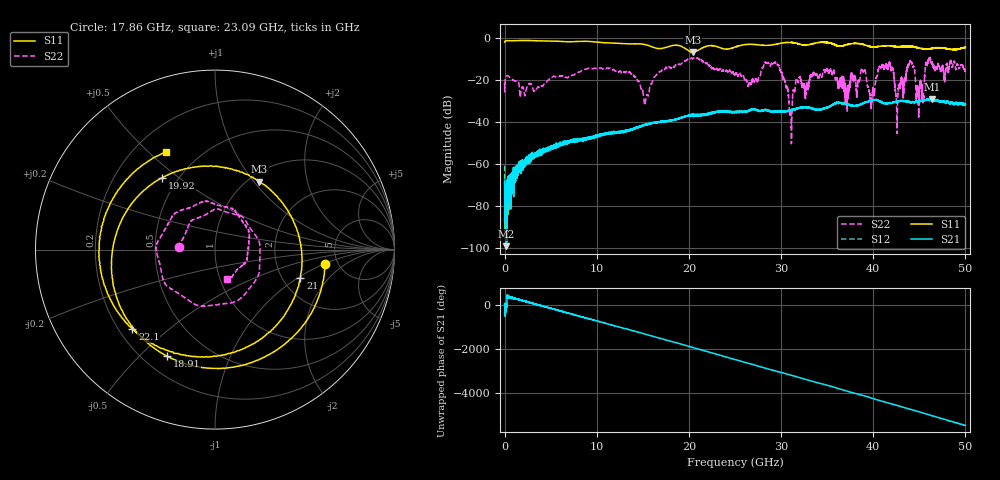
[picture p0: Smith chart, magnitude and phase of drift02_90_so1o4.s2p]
!Created with skrf (http://scikit-rf.org).
# Hz S RI R 50.0
!freq ReS11 ImS11 ReS21 ImS21 ReS12 ImS12 ReS22 ImS22
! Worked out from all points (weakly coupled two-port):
!   10001 points, 300 kHz to 50 GHz, reference 50 ohm
!   highest |S21| = -29.06 dB at 46.4 GHz (marker M1); lowest = -99.0 dB at 205.3 MHz (marker M2)
!   lowest |S11| = -6.9 dB at 20.42 GHz (marker M3), VSWR 2.65, Z = 56 + j53.2 ohm
!   |S11| at or under -10 dB: nowhere
!   |S22| runs from -50.4 to -9.4 dB; largest |S21 - S12| = 0.0031
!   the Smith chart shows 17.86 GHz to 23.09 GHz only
!   S11 on the Smith chart (normalised r, x): 17.86 GHz: 3.96, -1.04; 18.91 GHz: 0.29, -0.61; 19.92 GHz: 0.41, +0.44; 21 GHz: 2.50, -1.06; 22.1 GHz: 0.25, -0.38; 23.09 GHz: 0.33, +0.57
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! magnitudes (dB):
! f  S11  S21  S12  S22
! 300 kHz  -2.2  -68.0  -60.7  -21.5
! 205.3 MHz  -1.4  -99.0  -75.9  -18.1
! 8.335 GHz  -1.7  -48.5  -48.0  -15.7
! 15.33 GHz  -3.4  -41.3  -41.2  -29.1
! 16.67 GHz  -5.2  -40.0  -40.1  -17.0
! 17.86 GHz  -4.2  -39.4  -39.4  -13.9
! 18.91 GHz  -3.7  -38.6  -38.3  -12.5
! 19.92 GHz  -6.1  -37.1  -37.1  -10.2
! 20.42 GHz  -6.9  -36.8  -36.8  -10.0
! 21 GHz  -6.0  -36.7  -36.6  -9.8
! 22.1 GHz  -3.9  -36.0  -36.2  -12.9
! 23.09 GHz  -4.3  -35.0  -35.2  -15.0
! 25 GHz  -4.5  -35.4  -35.3  -17.6
! 29.52 GHz  -3.1  -35.0  -35.1  -12.6
! 31.03 GHz  -2.3  -34.6  -34.6  -34.4
! 33.34 GHz  -3.0  -33.4  -33.5  -18.2
! 38.92 GHz  -3.2  -31.1  -31.0  -16.2
! 39.88 GHz  -4.4  -29.8  -29.8  -27.7
! 41.67 GHz  -3.9  -31.1  -31.1  -13.5
! 42.62 GHz  -4.3  -30.4  -30.1  -34.7
! 46.4 GHz  -5.0  -29.1  -29.4  -12.7
! 50 GHz  -4.6  -31.6  -31.3  -16.1
